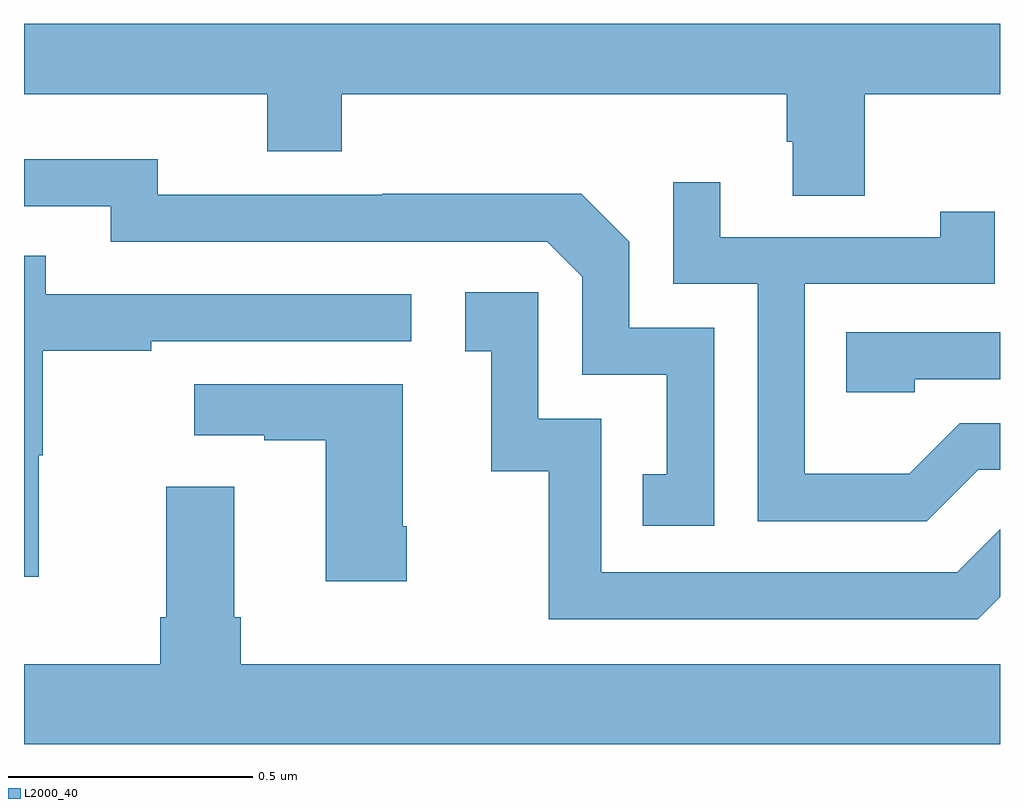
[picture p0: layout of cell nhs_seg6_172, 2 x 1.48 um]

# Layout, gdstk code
import gdstk
lib = gdstk.Library(unit=1e-6, precision=1e-09)
def P(c, l, *ps):  # polygons
    for p in ps: c.add(gdstk.Polygon(p, *l))
L2000_40 = (2000, 40)

nhs_seg6_172 = lib.new_cell('nhs_seg6_172')
P(nhs_seg6_172, L2000_40, [(114.723,927.356),(115,927.356),(115,927.5),(113,927.5),(113,927.356),(113.498,927.356),(113.498,927.239),(113.651,927.239),(113.651,927.356),(114.563,927.356),(114.563,927.258),(114.575,927.258),(114.575,927.148),(114.723,927.148)],
  [(114.414,926.877),(114.24,926.877),(114.24,927.054),(114.142,927.152),(113.734,927.152),(113.734,927.15),(113.274,927.15),(113.274,927.223),(113,927.223),(113,927.126),(113.178,927.126),(113.178,927.054),(114.072,927.054),(114.144,926.982),(114.144,926.781),(114.317,926.781),(114.317,926.577),(114.268,926.577),(114.268,926.472),(114.414,926.472)],
  [(114.955,926.586),(115,926.586),(115,926.682),(114.918,926.682),(114.814,926.578),(114.6,926.578),(114.6,926.967),(114.989,926.967),(114.989,927.115),(114.878,927.115),(114.878,927.063),(114.427,927.063),(114.427,927.175),(114.33,927.175),(114.33,926.967),(114.504,926.967),(114.504,926.481),(114.85,926.481)],
  [(113.03,926.616),(113.038,926.616),(113.038,926.83),(113.261,926.83),(113.261,926.85),(113.794,926.85),(113.794,926.946),(113.045,926.946),(113.045,927.025),(113,927.025),(113,926.367),(113.03,926.367)],
  [(115,926.326),(115,926.464),(114.912,926.376),(114.183,926.376),(114.183,926.691),(114.054,926.691),(114.054,926.95),(113.904,926.95),(113.904,926.829),(113.957,926.829),(113.957,926.583),(114.075,926.583),(114.075,926.28),(114.954,926.28)],
  [(114.825,926.772),(115,926.772),(115,926.868),(114.685,926.868),(114.685,926.745),(114.825,926.745)],
  [(113.784,926.47),(113.776,926.47),(113.776,926.761),(113.349,926.761),(113.349,926.657),(113.492,926.657),(113.492,926.647),(113.618,926.647),(113.618,926.358),(113.784,926.358)],
  [(115,926.188),(113.444,926.188),(113.444,926.284),(113.431,926.284),(113.431,926.551),(113.291,926.551),(113.291,926.284),(113.279,926.284),(113.279,926.188),(113,926.188),(113,926.024),(115,926.024)])

lib.write_gds('nhs_seg6_172.gds')
